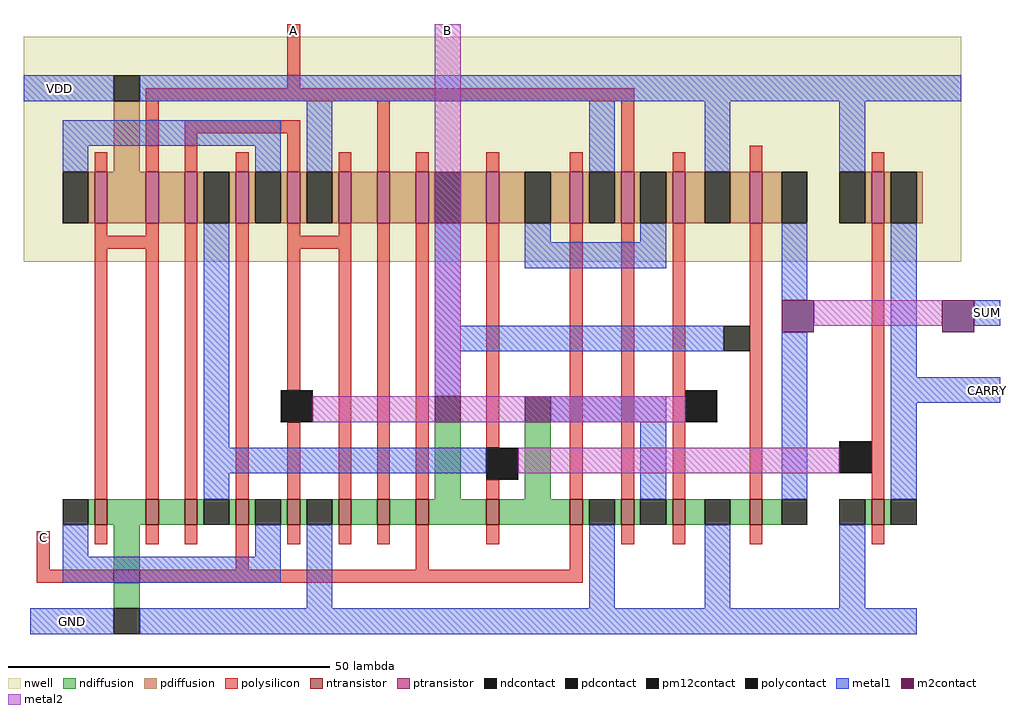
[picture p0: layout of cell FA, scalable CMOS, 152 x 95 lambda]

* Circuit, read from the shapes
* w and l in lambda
.subckt FA A B C CARRY GND SUM VDD
M1 n1 A n2 VSUBS nfet w=4 l=2
M2 n1 C GND VSUBS nfet w=4 l=2
M3 n3 A n1 VSUBS nfet w=4 l=2
M4 n4 B n3 VSUBS nfet w=4 l=2
M5 n2 C n4 VSUBS nfet w=4 l=2
M6 GND B n2 VSUBS nfet w=4 l=2
M7 n5 B GND VSUBS nfet w=4 l=2
M8 n6 A n5 VSUBS nfet w=4 l=2
M9 n7 C n6 VSUBS nfet w=4 l=2
M10 n8 n4 n7 VSUBS nfet w=4 l=2
M11 GND C n8 VSUBS nfet w=4 l=2
M12 n8 A GND VSUBS nfet w=4 l=2
M13 GND B n8 VSUBS nfet w=4 l=2
M14 SUM n7 GND VSUBS nfet w=4 l=2
M15 CARRY n4 GND VSUBS nfet w=4 l=2
M16 VDD A n9 n10 pfet w=8 l=2
M17 n11 A VDD n10 pfet w=8 l=2
M18 n4 B n11 n10 pfet w=8 l=2
M19 n9 C n4 n10 pfet w=8 l=2
M20 VDD B n9 n10 pfet w=8 l=2
M21 n12 B VDD n10 pfet w=8 l=2
M22 n13 A n12 n10 pfet w=8 l=2
M23 n7 C n13 n10 pfet w=8 l=2
M24 n14 n4 n7 n10 pfet w=8 l=2
M25 VDD C n14 n10 pfet w=8 l=2
M26 n14 A VDD n10 pfet w=8 l=2
M27 VDD B n14 n10 pfet w=8 l=2
M28 SUM n7 VDD n10 pfet w=8 l=2
M29 CARRY n4 VDD n10 pfet w=8 l=2
.ends

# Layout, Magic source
magic
tech scmos
<< nwell >>
rect -88 -472 58 -437
<< ntransistor >>
rect -77 -513 -75 -509
rect -69 -513 -67 -509
rect -63 -513 -61 -509
rect -55 -513 -53 -509
rect -47 -513 -45 -509
rect -39 -513 -37 -509
rect -33 -513 -31 -509
rect -27 -513 -25 -509
rect -16 -513 -14 -509
rect -3 -513 -1 -509
rect 5 -513 7 -509
rect 13 -513 15 -509
rect 25 -513 27 -509
rect 44 -513 46 -509
rect -74 -522 -70 -520
<< ptransistor >>
rect -77 -466 -75 -458
rect -69 -466 -67 -458
rect -63 -466 -61 -458
rect -55 -466 -53 -458
rect -47 -466 -45 -458
rect -39 -466 -37 -458
rect -33 -466 -31 -458
rect -27 -466 -25 -458
rect -16 -466 -14 -458
rect -3 -466 -1 -458
rect 5 -466 7 -458
rect 13 -466 15 -458
rect 25 -466 27 -458
rect 44 -466 46 -458
<< ndiffusion >>
rect -24 -509 -20 -497
rect -10 -509 -6 -497
rect -78 -513 -77 -509
rect -75 -513 -69 -509
rect -67 -513 -63 -509
rect -61 -513 -60 -509
rect -56 -513 -55 -509
rect -53 -513 -52 -509
rect -48 -513 -47 -509
rect -45 -513 -44 -509
rect -40 -513 -39 -509
rect -37 -513 -33 -509
rect -31 -513 -27 -509
rect -25 -513 -16 -509
rect -14 -513 -3 -509
rect -1 -513 0 -509
rect 4 -513 5 -509
rect 7 -513 8 -509
rect 12 -513 13 -509
rect 15 -513 18 -509
rect 22 -513 25 -509
rect 27 -513 30 -509
rect 43 -513 44 -509
rect 46 -513 47 -509
rect -74 -520 -70 -513
rect -74 -526 -70 -522
<< pdiffusion >>
rect -74 -458 -70 -447
rect -78 -466 -77 -458
rect -75 -466 -69 -458
rect -67 -466 -63 -458
rect -61 -466 -60 -458
rect -56 -466 -55 -458
rect -53 -466 -52 -458
rect -48 -466 -47 -458
rect -45 -466 -44 -458
rect -40 -466 -39 -458
rect -37 -466 -33 -458
rect -31 -466 -27 -458
rect -25 -466 -24 -458
rect -20 -466 -16 -458
rect -14 -466 -10 -458
rect -6 -466 -3 -458
rect -1 -466 0 -458
rect 4 -466 5 -458
rect 7 -466 8 -458
rect 12 -466 13 -458
rect 15 -466 18 -458
rect 22 -466 25 -458
rect 27 -466 30 -458
rect 43 -466 44 -458
rect 46 -466 47 -458
rect 51 -466 52 -458
<< ndcontact >>
rect -24 -497 -20 -493
rect -10 -497 -6 -493
rect -82 -513 -78 -509
rect -60 -513 -56 -509
rect -52 -513 -48 -509
rect -44 -513 -40 -509
rect 0 -513 4 -509
rect 8 -513 12 -509
rect 18 -513 22 -509
rect 30 -513 34 -509
rect 39 -513 43 -509
rect 47 -513 51 -509
rect -74 -530 -70 -526
<< pdcontact >>
rect -74 -447 -70 -443
rect -82 -466 -78 -458
rect -60 -466 -56 -458
rect -52 -466 -48 -458
rect -44 -466 -40 -458
rect -24 -466 -20 -458
rect -10 -466 -6 -458
rect 0 -466 4 -458
rect 8 -466 12 -458
rect 18 -466 22 -458
rect 30 -466 34 -458
rect 39 -466 43 -458
rect 47 -466 51 -458
<< polysilicon >>
rect -47 -445 -45 -435
rect -77 -458 -75 -455
rect -69 -447 7 -445
rect -69 -458 -67 -447
rect -63 -452 -45 -450
rect -63 -458 -61 -452
rect -55 -458 -53 -455
rect -47 -458 -45 -452
rect -39 -458 -37 -455
rect -33 -458 -31 -447
rect -27 -458 -25 -455
rect -16 -458 -14 -455
rect -3 -458 -1 -455
rect 5 -458 7 -447
rect 13 -458 15 -455
rect 25 -458 27 -454
rect 44 -458 46 -455
rect -77 -468 -75 -466
rect -69 -468 -67 -466
rect -77 -470 -67 -468
rect -77 -509 -75 -470
rect -69 -509 -67 -470
rect -63 -509 -61 -466
rect -55 -509 -53 -466
rect -47 -468 -45 -466
rect -39 -468 -37 -466
rect -47 -470 -37 -468
rect -47 -492 -45 -470
rect -47 -509 -45 -497
rect -39 -509 -37 -470
rect -33 -509 -31 -466
rect -27 -509 -25 -466
rect -16 -501 -14 -466
rect -16 -509 -14 -506
rect -3 -509 -1 -466
rect 5 -509 7 -466
rect 13 -509 15 -466
rect 25 -509 27 -466
rect 44 -509 46 -466
rect -86 -520 -84 -514
rect -77 -516 -75 -513
rect -69 -516 -67 -513
rect -63 -516 -61 -513
rect -55 -520 -53 -513
rect -47 -516 -45 -513
rect -39 -516 -37 -513
rect -33 -516 -31 -513
rect -27 -520 -25 -513
rect -16 -516 -14 -513
rect -3 -520 -1 -513
rect 5 -516 7 -513
rect 13 -516 15 -513
rect 25 -516 27 -513
rect 44 -516 46 -513
rect -86 -522 -74 -520
rect -70 -522 -1 -520
<< polycontact >>
rect -48 -497 -43 -492
rect -16 -506 -11 -501
rect 21 -486 25 -482
rect 15 -497 20 -492
rect 39 -505 44 -500
<< metal1 >>
rect -88 -447 -74 -443
rect -70 -447 58 -443
rect -82 -454 -48 -450
rect -82 -458 -78 -454
rect -52 -458 -48 -454
rect -44 -458 -40 -447
rect 0 -458 4 -447
rect 18 -458 22 -447
rect 39 -458 43 -447
rect -60 -501 -56 -466
rect -24 -482 -20 -466
rect -10 -469 -6 -466
rect 8 -469 12 -466
rect -10 -473 12 -469
rect 30 -478 34 -466
rect -24 -486 21 -482
rect -24 -493 -20 -486
rect -6 -497 12 -493
rect -60 -505 -16 -501
rect -60 -509 -56 -505
rect 8 -509 12 -497
rect 30 -509 34 -483
rect 47 -490 51 -466
rect 60 -482 64 -478
rect 47 -494 64 -490
rect 47 -509 51 -494
rect -82 -518 -78 -513
rect -52 -518 -48 -513
rect -82 -522 -48 -518
rect -44 -526 -40 -513
rect 0 -526 4 -513
rect 18 -526 22 -513
rect 39 -526 43 -513
rect -87 -530 -74 -526
rect -70 -530 51 -526
<< m2contact >>
rect 30 -483 35 -478
rect 55 -483 60 -478
<< pm12contact >>
rect -48 -497 -43 -492
rect 15 -497 20 -492
rect -16 -506 -11 -501
rect 39 -505 44 -500
<< metal2 >>
rect -24 -493 -20 -435
rect 35 -482 55 -478
rect -43 -497 15 -493
rect -11 -505 39 -501
<< labels >>
rlabel metal1 -88 -447 -77 -443 1 VDD
rlabel metal1 -87 -530 -74 -526 1 GND
rlabel polysilicon -86 -516 -84 -514 1 C
rlabel polysilicon -47 -437 -45 -435 1 A
rlabel metal2 -24 -437 -20 -435 1 B
rlabel metal1 60 -482 64 -478 7 SUM
rlabel metal1 60 -494 64 -490 7 CARRY
<< end >>
